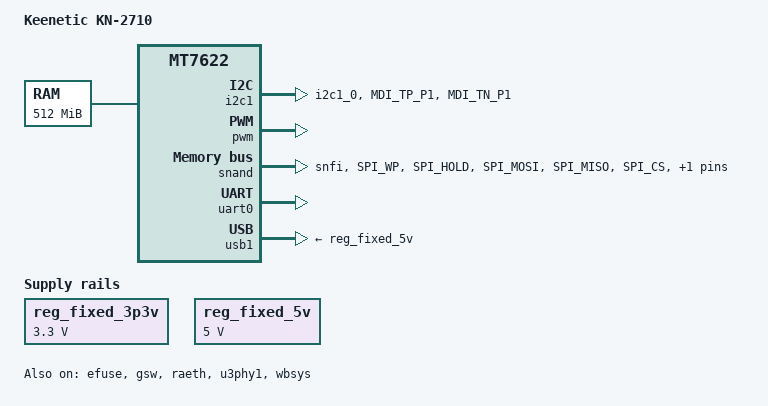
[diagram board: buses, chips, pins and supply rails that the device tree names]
/*
 * Copyright (c) 2017 MediaTek Inc.
 * Author: Ming Huang <ming.huang@mediatek.com>
 *
 * This program is free software; you can redistribute it and/or modify
 * it under the terms of the GNU General Public License version 2 as
 * published by the Free Software Foundation.
 *
 * This program is distributed in the hope that it will be useful,
 * but WITHOUT ANY WARRANTY; without even the implied warranty of
 * MERCHANTABILITY or FITNESS FOR A PARTICULAR PURPOSE.  See the
 * GNU General Public License for more details.
 */

/dts-v1/;
#include <dt-bindings/gpio/gpio.h>
#include <dt-bindings/pinctrl/mt65xx.h>
#include <mediatek/mt7622.dtsi>
#include <mediatek/mt6380.dtsi>

/ {
	model = "Keenetic KN-2710";
	compatible = "keenetic,kn-2710", "mediatek,mt7622";

	chosen {
		bootargs = "console=ttyS0,115200n1 loglevel=8 swiotlb=512 rootfstype=squashfs";
	};

	memory@40000000 {
		device_type = "memory";
		reg = <0 0x40000000 0 0x20000000>;
	};

	reg_fixed_3p3v: regulator-3p3v {
		compatible = "regulator-fixed";
		regulator-name = "fixed-3.3V";
		regulator-min-microvolt = <3300000>;
		regulator-max-microvolt = <3300000>;
		regulator-always-on;
	};

	reg_fixed_5v: regulator-5v {
		compatible = "regulator-fixed";
		regulator-name = "fixed-5V";
		regulator-min-microvolt = <5000000>;
		regulator-max-microvolt = <5000000>;
		regulator-always-on;
	};
};

&bch {
	status = "disabled";
};

&cpu0 {
	proc-supply = <&mt6380_vcpu_reg>;
	sram-supply = <&mt6380_vm_reg>;
};

&cpu1 {
	proc-supply = <&mt6380_vcpu_reg>;
	sram-supply = <&mt6380_vm_reg>;
};

&efuse {
	status = "okay";
};

&gsw {
	interrupt-parent = <&pio>;
	interrupts = <53 IRQ_TYPE_LEVEL_HIGH>;
	status = "okay";
};

&raeth {
	dma-coherent;
	mediatek,i2c = <&i2c1>;
	status = "okay";
};

&wed2 {
	status = "disabled";
};

&i2c0 {
	status = "disabled";
};

&i2c1 {
	pinctrl-names = "default";
	pinctrl-0 = <&i2c1_pins>;
	status = "okay";
};

&i2c2 {
	status = "disabled";
};

&pio {
	snand_pins_default: snand-pins-default {
		mux {
			function = "flash";
			groups = "snfi";
		};

		conf-cmd-dat {
			pins = "SPI_WP", "SPI_HOLD", "SPI_MOSI",
			       "SPI_MISO", "SPI_CS";
			input-enable;
			drive-strength = <MTK_DRIVE_16mA>;
			bias-pull-up;
		};

		conf-clk {
			pins = "SPI_CLK";
			drive-strength = <MTK_DRIVE_16mA>;
			bias-pull-down;
		};
	};

	i2c1_pins: i2c1-pins {
		mux {
			function = "i2c";
			groups = "i2c1_0";
		};

		conf-cmd-dat {
			pins = "MDI_TP_P1", "MDI_TN_P1";
			bias-pull-up;
			input-enable;
		};
	};

	wbsys_pins_default: wbsysdefault {
	};

	wbsys_pins_epa: wbsysepa {
		mux {
			function = "antsel";
			groups = "antsel0", "antsel1", "antsel2", "antsel3",
				 "antsel4", "antsel5", "antsel6", "antsel7",
				 "antsel8", "antsel9", "antsel12", "antsel13",
				 "antsel14", "antsel15", "antsel16", "antsel17";
		};
	};
};

&pwm {
	status = "okay";
};

&snand {
	pinctrl-names = "default";
	pinctrl-0 = <&snand_pins_default>;
	status = "okay";
};

&svs {
	vproc-supply = <&mt6380_vcpu_reg>;
};

&uart0 {
	status = "okay";
};

&usb1 {
	vusb33-supply = <&reg_fixed_3p3v>;
	vbus-supply = <&reg_fixed_5v>;
	status = "okay";
};

&u3phy1 {
	status = "okay";
};

&sata {
	status = "disabled";
};

&wbsys {
	pinctrl-names = "default", "state_epa";
	pinctrl-0 = <&wbsys_pins_default>;
	pinctrl-1 = <&wbsys_pins_epa>;
	status = "okay";
};
